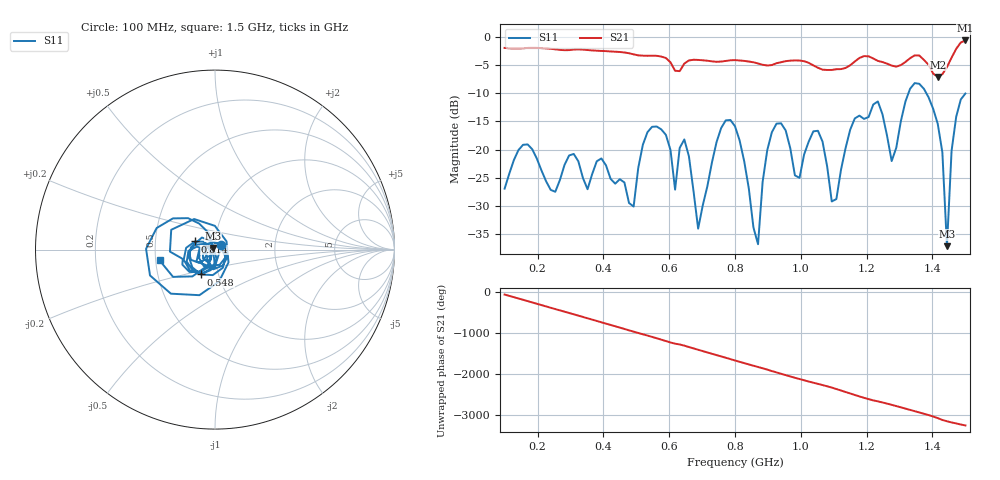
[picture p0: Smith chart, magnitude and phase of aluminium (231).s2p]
! NanoVNA-App
! Date: 2025-09-25 14:57:04
! Start: 100MHz Stop: 1,5GHz Points: 101
! S-Parameter data: F S11 S21 S12 S22
# Hz S RI R 50
!  Frequency  S11_Real  S11_Imag  S21_Real  S21_Imag  S12_Real  S12_Imag  S22_Real  S22_Imag
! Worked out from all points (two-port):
!   101 points, 100 MHz to 1.5 GHz, reference 50 ohm
!   highest |S21| = -0.60 dB at 1.5 GHz (marker M1); lowest = -7.1 dB at 1.416 GHz (marker M2)
!   |S21| within 3 dB of the highest: start of sweep to 583.4 MHz; 1.459 GHz to end of sweep (the widest 2 of 4)
!   lowest |S11| = -37.2 dB at 1.444 GHz (marker M3), VSWR 1.03, Z = 48.9 + j0.845 ohm
!   |S11| at or under -10 dB: start of sweep to 1.327 GHz; 1.381 GHz to end of sweep
!   S12 and S22 are empty: the file has one direction only
!   S11 on the Smith chart (normalised r, x): 100 MHz: 1.07, +0.06; 548 MHz: 0.82, -0.23; 814 MHz: 0.80, +0.07; 1.5 GHz: 0.52, -0.07
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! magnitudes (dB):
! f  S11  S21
! 100 MHz  -27.0  -1.9
! 338 MHz  -25.1  -2.2
! 492 MHz  -30.1  -3.1
! 548 MHz  -16.0  -3.3
! 576 MHz  -16.4  -3.5
! 618 MHz  -27.1  -6.0
! 646 MHz  -18.2  -4.7
! 688 MHz  -34.1  -4.1
! 800 MHz  -15.9  -4.1
! 814 MHz  -18.4  -4.2
! 870 MHz  -36.8  -4.7
! 912 MHz  -16.9  -5.0
! 996 MHz  -25.0  -4.2
! 1.038 GHz  -16.8  -5.0
! 1.094 GHz  -29.2  -5.8
! 1.22 GHz  -12.0  -3.8
! 1.276 GHz  -22.1  -5.1
! 1.346 GHz  -8.2  -3.2
! 1.416 GHz  -15.4  -7.1
! 1.444 GHz  -37.2  -5.3
! 1.458 GHz  -20.2  -3.7
! 1.5 GHz  -10.0  -0.6
